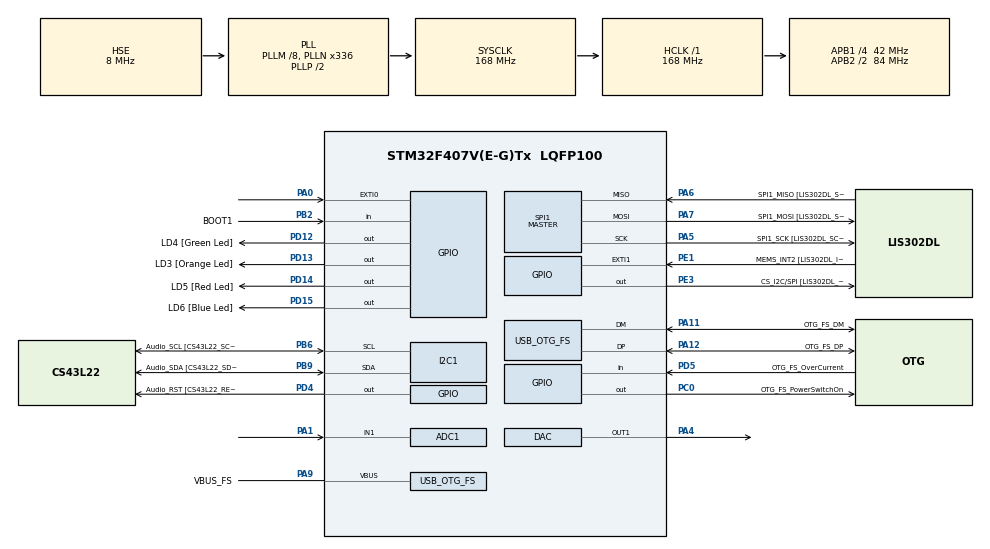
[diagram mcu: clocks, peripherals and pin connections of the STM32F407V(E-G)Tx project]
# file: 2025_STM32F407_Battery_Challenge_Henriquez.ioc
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ADC1.Channel-0\#ChannelRegularConversion=ADC_CHANNEL_1
ADC1.ContinuousConvMode=ENABLE
ADC1.NbrOfConversionFlag=1
ADC1.Rank-0\#ChannelRegularConversion=1
ADC1.SamplingTime-0\#ChannelRegularConversion=ADC_SAMPLETIME_480CYCLES
ADC1.master=1
DAC.DAC_Trigger=DAC_TRIGGER_T2_TRGO
Dma.DAC1.0.Direction=DMA_MEMORY_TO_PERIPH
Dma.DAC1.0.FIFOMode=DMA_FIFOMODE_DISABLE
Dma.DAC1.0.Instance=DMA1_Stream5
Dma.DAC1.0.MemDataAlignment=DMA_MDATAALIGN_WORD
Dma.DAC1.0.MemInc=DMA_MINC_ENABLE
Dma.DAC1.0.Mode=DMA_CIRCULAR
Dma.DAC1.0.PeriphDataAlignment=DMA_PDATAALIGN_WORD
Dma.DAC1.0.PeriphInc=DMA_PINC_DISABLE
Dma.DAC1.0.Priority=DMA_PRIORITY_LOW
Dma.Request0=DAC1
Mcu.Family=STM32F4
Mcu.Name=STM32F407V(E-G)Tx
Mcu.Package=LQFP100
NVIC.ADC_IRQn=true\:0\:0\:false\:false\:true\:true\:true\:true
NVIC.DMA1_Stream5_IRQn=true\:0\:0\:false\:false\:true\:false\:true\:true
NVIC.EXTI0_IRQn=true\:0\:0\:false\:false\:true\:true\:true\:true
NVIC.OTG_FS_IRQn=true\:0\:0\:false\:false\:true\:true\:true\:true
NVIC.PriorityGroup=NVIC_PRIORITYGROUP_0
NVIC.TIM2_IRQn=true\:0\:0\:false\:false\:true\:true\:true\:true
PA0-WKUP.GPIO_PuPd=GPIO_PULLDOWN
PA0-WKUP.Signal=GPXTI0
PA1.Signal=ADCx_IN1
PA10.GPIO_Label=OTG_FS_ID
PA10.GPIO_Mode=GPIO_MODE_AF_PP
PA10.GPIO_PuPd=GPIO_NOPULL
PA10.GPIO_Speed=GPIO_SPEED_FREQ_LOW
PA10.Signal=USB_OTG_FS_ID
PA11.GPIO_Label=OTG_FS_DM
PA11.GPIO_Mode=GPIO_MODE_AF_PP
PA11.GPIO_PuPd=GPIO_NOPULL
PA11.GPIO_Speed=GPIO_SPEED_FREQ_LOW
PA11.Mode=Host_Only
PA11.Signal=USB_OTG_FS_DM
PA12.GPIO_Label=OTG_FS_DP
PA12.GPIO_Mode=GPIO_MODE_AF_PP
PA12.GPIO_PuPd=GPIO_NOPULL
PA12.GPIO_Speed=GPIO_SPEED_FREQ_LOW
PA12.Mode=Host_Only
PA12.Signal=USB_OTG_FS_DP
PA13.GPIO_Label=SWDIO
PA13.Mode=Serial_Wire
PA13.Signal=SYS_JTMS-SWDIO
PA14.GPIO_Label=SWCLK
PA14.Mode=Serial_Wire
PA14.Signal=SYS_JTCK-SWCLK
PA4.Signal=COMP_DAC1_group
PA5.GPIO_Label=SPI1_SCK [LIS302DL_SCL/SPC]
PA5.GPIO_Mode=GPIO_MODE_AF_PP
PA5.GPIO_PuPd=GPIO_NOPULL
PA5.GPIO_Speed=GPIO_SPEED_FREQ_LOW
PA5.Mode=Full_Duplex_Master
PA5.Signal=SPI1_SCK
PA6.GPIO_Label=SPI1_MISO [LIS302DL_SDO]
PA6.GPIO_Mode=GPIO_MODE_AF_PP
PA6.GPIO_PuPd=GPIO_NOPULL
PA6.GPIO_Speed=GPIO_SPEED_FREQ_LOW
PA6.Mode=Full_Duplex_Master
PA6.Signal=SPI1_MISO
PA7.GPIO_Label=SPI1_MOSI [LIS302DL_SDA/SDI/SDO]
PA7.GPIO_Mode=GPIO_MODE_AF_PP
PA7.GPIO_PuPd=GPIO_NOPULL
PA7.GPIO_Speed=GPIO_SPEED_FREQ_LOW
PA7.Mode=Full_Duplex_Master
PA7.Signal=SPI1_MOSI
PA9.GPIO_Label=VBUS_FS
PA9.GPIO_Mode=GPIO_MODE_INPUT
PA9.GPIO_PuPd=GPIO_NOPULL
PA9.Mode=Activate_VBUS
PA9.Signal=USB_OTG_FS_VBUS
PB10.GPIO_Label=CLK_IN [MP45DT02_CLK]
PB10.GPIO_Mode=GPIO_MODE_AF_PP
PB10.GPIO_PuPd=GPIO_NOPULL
PB10.GPIO_Speed=GPIO_SPEED_FREQ_LOW
PB10.Signal=I2S2_CK
PB2.GPIO_Label=BOOT1
PB2.GPIO_Mode=GPIO_MODE_INPUT
PB2.GPIO_PuPd=GPIO_NOPULL
PB2.Signal=GPIO_Input
PB3.GPIO_Label=SWO
PB3.Signal=SYS_JTDO-SWO
PB6.GPIO_Label=Audio_SCL [CS43L22_SCL]
PB6.GPIO_Mode=GPIO_MODE_AF_OD
PB6.GPIO_Pu=GPIO_PULLUP
PB6.GPIO_PuPd=GPIO_NOPULL
PB6.GPIO_Speed=GPIO_SPEED_FREQ_LOW
PB6.Mode=I2C
PB6.Signal=I2C1_SCL
PB9.GPIO_Label=Audio_SDA [CS43L22_SDA]
PB9.GPIO_Mode=GPIO_MODE_AF_OD
PB9.GPIO_Pu=GPIO_PULLUP
PB9.GPIO_PuPd=GPIO_NOPULL
PB9.GPIO_Speed=GPIO_SPEED_FREQ_LOW
PB9.Mode=I2C
PB9.Signal=I2C1_SDA
PC0.GPIO_Label=OTG_FS_PowerSwitchOn
PC0.GPIO_PuPd=GPIO_NOPULL
PC0.GPIO_Speed=GPIO_SPEED_FREQ_LOW
PC0.PinState=GPIO_PIN_SET
PC0.Signal=GPIO_Output
PC10.GPIO_Label=I2S3_SCK [CS43L22_SCLK]
PC10.GPIO_Mode=GPIO_MODE_AF_PP
PC10.GPIO_PuPd=GPIO_NOPULL
PC10.GPIO_Speed=GPIO_SPEED_FREQ_LOW
PC10.Signal=I2S3_CK
PC12.GPIO_Label=I2S3_SD [CS43L22_SDIN]
PC12.GPIO_Mode=GPIO_MODE_AF_PP
PC12.GPIO_PuPd=GPIO_NOPULL
PC12.GPIO_Speed=GPIO_SPEED_FREQ_LOW
PC12.Signal=I2S3_SD
PC14-OSC32_IN.GPIO_Label=PC14-OSC32_IN
PC14-OSC32_IN.Mode=LSE-External-Oscillator
PC14-OSC32_IN.Signal=RCC_OSC32_IN
PC15-OSC32_OUT.GPIO_Label=PC15-OSC32_OUT
PC15-OSC32_OUT.Mode=LSE-External-Oscillator
PC15-OSC32_OUT.Signal=RCC_OSC32_OUT
PC3.GPIO_Label=PDM_OUT [MP45DT02_DOUT]
PC3.GPIO_Mode=GPIO_MODE_AF_PP
PC3.GPIO_PuPd=GPIO_NOPULL
PC3.GPIO_Speed=GPIO_SPEED_FREQ_LOW
PC3.Signal=I2S2_SD
PC7.GPIO_Label=I2S3_MCK [CS43L22_MCLK]
PC7.GPIO_Mode=GPIO_MODE_AF_PP
PC7.GPIO_PuPd=GPIO_NOPULL
PC7.GPIO_Speed=GPIO_SPEED_FREQ_LOW
PC7.Signal=I2S3_MCK
PD12.GPIO_Label=LD4 [Green Led]
PD12.GPIO_PuPd=GPIO_NOPULL
PD12.GPIO_Speed=GPIO_SPEED_FREQ_LOW
PD12.Signal=GPIO_Output
PD13.GPIO_Label=LD3 [Orange Led]
PD13.GPIO_PuPd=GPIO_NOPULL
PD13.GPIO_Speed=GPIO_SPEED_FREQ_LOW
PD13.Signal=GPIO_Output
PD14.GPIO_Label=LD5 [Red Led]
PD14.GPIO_PuPd=GPIO_NOPULL
PD14.GPIO_Speed=GPIO_SPEED_FREQ_LOW
PD14.Signal=GPIO_Output
PD15.GPIO_Label=LD6 [Blue Led]
PD15.GPIO_PuPd=GPIO_NOPULL
PD15.GPIO_Speed=GPIO_SPEED_FREQ_LOW
PD15.Signal=GPIO_Output
PD4.GPIO_Label=Audio_RST [CS43L22_RESET]
PD4.GPIO_PuPd=GPIO_NOPULL
PD4.GPIO_Speed=GPIO_SPEED_FREQ_LOW
PD4.Signal=GPIO_Output
PD5.GPIO_Label=OTG_FS_OverCurrent
PD5.GPIO_Mode=GPIO_MODE_INPUT
PD5.GPIO_PuPd=GPIO_NOPULL
PD5.Signal=GPIO_Input
PE1.GPIO_Label=MEMS_INT2 [LIS302DL_INT2]
PE1.GPIO_ModeDefaultEXTI=GPIO_MODE_EVT_RISING
PE1.GPIO_PuPd=GPIO_NOPULL
PE1.Signal=GPXTI1
PE3.GPIO_Label=CS_I2C/SPI [LIS302DL_CS_I2C/SPI]
PE3.GPIO_PuPd=GPIO_NOPULL
PE3.GPIO_Speed=GPIO_SPEED_FREQ_LOW
PE3.Signal=GPIO_Output
PH0-OSC_IN.GPIO_Label=PH0-OSC_IN
PH0-OSC_IN.Mode=HSE-External-Oscillator
PH0-OSC_IN.Signal=RCC_OSC_IN
PH1-OSC_OUT.GPIO_Label=PH1-OSC_OUT
PH1-OSC_OUT.Mode=HSE-External-Oscillator
PH1-OSC_OUT.Signal=RCC_OSC_OUT
ProjectManager.HeapSize=0x200
ProjectManager.StackSize=0x400
ProjectManager.TargetToolchain=STM32CubeIDE
RCC.48MHZClocksFreq_Value=48000000
RCC.AHBFreq_Value=168000000
RCC.APB1CLKDivider=RCC_HCLK_DIV4
RCC.APB1Freq_Value=42000000
RCC.APB1TimFreq_Value=84000000
RCC.APB2CLKDivider=RCC_HCLK_DIV2
RCC.APB2Freq_Value=84000000
RCC.APB2TimFreq_Value=168000000
RCC.CortexFreq_Value=168000000
RCC.HCLKFreq_Value=168000000
RCC.HSE_VALUE=8000000
RCC.HSI_VALUE=16000000
RCC.PLLM=8
RCC.PLLN=336
RCC.PLLQ=7
RCC.SYSCLKFreq_VALUE=168000000
RCC.SYSCLKSource=RCC_SYSCLKSOURCE_PLLCLK
RCC.VCOOutputFreq_Value=336000000
SH.ADCx_IN1.0=ADC1_IN1,IN1
SH.COMP_DAC1_group.0=DAC_OUT1,DAC_OUT1
SPI1.BaudRatePrescaler-Full_Duplex_Master=SPI_BAUDRATEPRESCALER_2
SPI1.CalculateBaudRate-Full_Duplex_Master=42.0 MBits/s
SPI1.Direction=SPI_DIRECTION_2LINES
SPI1.Mode=SPI_MODE_MASTER
SPI1.Mode-Full_Duplex_Master=SPI_MODE_MASTER
SPI1.VirtualType=VM_MASTER
TIM2.Period=100-1
TIM2.Prescaler=84-1
TIM2.TIM_MasterOutputTrigger=TIM_TRGO_UPDATE
USB_HOST.BSP.number=1
USB_HOST.USBH_HandleTypeDef-CDC_FS=hUsbHostFS
USB_HOST.VirtualModeFS=Cdc
USB_HOST0.BSP.STBoard=false
USB_HOST0.BSP.api=Unknown
USB_HOST0.BSP.instance=PC0
USB_HOST0.BSP.ip=GPIO
USB_HOST0.BSP.mode=Output
USB_HOST0.BSP.name=Drive_VBUS_FS
USB_HOST0.BSP.solution=PC0
USB_OTG_FS.VirtualMode=Host_Only
USB_OTG_FS.phy_itface=HCD_PHY_EMBEDDED
VP_TIM2_VS_ClockSourceINT.Mode=Internal
VP_USB_HOST_VS_USB_HOST_CDC_FS.Mode=CDC_FS
board=STM32F407G-DISC1

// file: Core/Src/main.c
/* USER CODE BEGIN Header */
/**
  ******************************************************************************
  * @file           : main.c
  * @brief          : Main program body
  ******************************************************************************
  * @attention
  *
  * Copyright (c) 2025 STMicroelectronics.
  * All rights reserved.
  *
  * This software is licensed under terms that can be found in the LICENSE file
  * in the root directory of this software component.
  * If no LICENSE file comes with this software, it is provided AS-IS.
  *
  ******************************************************************************
  */
/* USER CODE END Header */
#include "main.h"
#include "usb_host.h"

/* USER CODE BEGIN Includes */
#include "math.h"

/* USER CODE END Includes */

ADC_HandleTypeDef hadc1;

DAC_HandleTypeDef hdac;
DMA_HandleTypeDef hdma_dac1;

I2C_HandleTypeDef hi2c1;

SPI_HandleTypeDef hspi1;

TIM_HandleTypeDef htim2;

/* USER CODE BEGIN PV */

#define V_REF 3
#define PI 3.14159265
#define NUM_POINTS 100
uint32_t gSine_Values[NUM_POINTS];
uint32_t gSine_Values2[NUM_POINTS];
uint32_t *current_sine_wave;
uint16_t gADC_Value = 0;
uint16_t gADC_Percent = 0;

int caseNumber = 0;
int buttonCounter = 0;
int lastButton = 0;

/* USER CODE END PV */

void SystemClock_Config(void);
static void MX_GPIO_Init(void);
static void MX_DMA_Init(void);
static void MX_I2C1_Init(void);
static void MX_SPI1_Init(void);
static void MX_ADC1_Init(void);
static void MX_DAC_Init(void);
static void MX_TIM2_Init(void);
void MX_USB_HOST_Process(void);

/* USER CODE BEGIN PFP */
int CASE_NUMBER(uint16_t gadc_percent);
void select_sine_wave(int countStatus);
void change_sine_wave(int countStatus);

/* USER CODE END PFP */

/* USER CODE BEGIN 0 */
long map(long x, long in_min, long in_max, long out_min, long out_max){
	return (x-in_min)*(out_max-out_min+1)/(in_max-in_min+1) + out_min;
}

void get_SineVal(){
	for(int i=0; i < NUM_POINTS; i++){
		gSine_Values[i] = (sin(i*2*PI/NUM_POINTS)+1)*(4096/V_REF);
		gSine_Values2[i] = (sin(i*2*PI*1.2/NUM_POINTS)+1)*(4096/V_REF);
	}
}

/* USER CODE END 0 */

int main(void)
{

  /* MCU Configuration--------------------------------------------------------*/

  /* Reset of all peripherals, Initializes the Flash interface and the Systick. */
  HAL_Init();

  /* Configure the system clock */
  SystemClock_Config();

  /* Initialize all configured peripherals */
  MX_GPIO_Init();
  MX_DMA_Init();
  MX_I2C1_Init();
  MX_SPI1_Init();
  MX_USB_HOST_Init();
  MX_ADC1_Init();
  MX_DAC_Init();
  MX_TIM2_Init();
  /* USER CODE BEGIN 2 */

  HAL_ADC_Start_IT(&hadc1);

  HAL_TIM_Base_Start(&htim2);

  get_SineVal();

  /* USER CODE END 2 */

  /* Infinite loop */
  /* USER CODE BEGIN WHILE */
  while (1)
  {

	  if (lastButton != buttonCounter){ // Whenever lastButton is not buttonCounter, run the change_sine_wave function
		  change_sine_wave(buttonCounter);

	  }
	  caseNumber = CASE_NUMBER(gADC_Percent); //Check power
	  if (caseNumber == 0){
		  buttonCounter = 0;
		  change_sine_wave(buttonCounter);
	  }
    /* USER CODE END WHILE */
    MX_USB_HOST_Process();

  }
}

void SystemClock_Config(void)
{
  RCC_OscInitTypeDef RCC_OscInitStruct = {0};
  RCC_ClkInitTypeDef RCC_ClkInitStruct = {0};

  /** Configure the main internal regulator output voltage
  */
  __HAL_RCC_PWR_CLK_ENABLE();
  __HAL_PWR_VOLTAGESCALING_CONFIG(PWR_REGULATOR_VOLTAGE_SCALE1);

  /** Initializes the RCC Oscillators according to the specified parameters
  * in the RCC_OscInitTypeDef structure.
  */
  RCC_OscInitStruct.OscillatorType = RCC_OSCILLATORTYPE_HSE;
  RCC_OscInitStruct.HSEState = RCC_HSE_ON;
  RCC_OscInitStruct.PLL.PLLState = RCC_PLL_ON;
  RCC_OscInitStruct.PLL.PLLSource = RCC_PLLSOURCE_HSE;
  RCC_OscInitStruct.PLL.PLLM = 8;
  RCC_OscInitStruct.PLL.PLLN = 336;
  RCC_OscInitStruct.PLL.PLLP = RCC_PLLP_DIV2;
  RCC_OscInitStruct.PLL.PLLQ = 7;
  if (HAL_RCC_OscConfig(&RCC_OscInitStruct) != HAL_OK)
  {
    Error_Handler();
  }

  /** Initializes the CPU, AHB and APB buses clocks
  */
  RCC_ClkInitStruct.ClockType = RCC_CLOCKTYPE_HCLK|RCC_CLOCKTYPE_SYSCLK
                              |RCC_CLOCKTYPE_PCLK1|RCC_CLOCKTYPE_PCLK2;
  RCC_ClkInitStruct.SYSCLKSource = RCC_SYSCLKSOURCE_PLLCLK;
  RCC_ClkInitStruct.AHBCLKDivider = RCC_SYSCLK_DIV1;
  RCC_ClkInitStruct.APB1CLKDivider = RCC_HCLK_DIV4;
  RCC_ClkInitStruct.APB2CLKDivider = RCC_HCLK_DIV2;

  if (HAL_RCC_ClockConfig(&RCC_ClkInitStruct, FLASH_LATENCY_5) != HAL_OK)
  {
    Error_Handler();
  }
}

static void MX_ADC1_Init(void)
{

  ADC_ChannelConfTypeDef sConfig = {0};

  /** Configure the global features of the ADC (Clock, Resolution, Data Alignment and number of conversion)
  */
  hadc1.Instance = ADC1;
  hadc1.Init.ClockPrescaler = ADC_CLOCK_SYNC_PCLK_DIV4;
  hadc1.Init.Resolution = ADC_RESOLUTION_12B;
  hadc1.Init.ScanConvMode = DISABLE;
  hadc1.Init.ContinuousConvMode = ENABLE;
  hadc1.Init.DiscontinuousConvMode = DISABLE;
  hadc1.Init.ExternalTrigConvEdge = ADC_EXTERNALTRIGCONVEDGE_NONE;
  hadc1.Init.ExternalTrigConv = ADC_SOFTWARE_START;
  hadc1.Init.DataAlign = ADC_DATAALIGN_RIGHT;
  hadc1.Init.NbrOfConversion = 1;
  hadc1.Init.DMAContinuousRequests = DISABLE;
  hadc1.Init.EOCSelection = ADC_EOC_SINGLE_CONV;
  if (HAL_ADC_Init(&hadc1) != HAL_OK)
  {
    Error_Handler();
  }

  /** Configure for the selected ADC regular channel its corresponding rank in the sequencer and its sample time.
  */
  sConfig.Channel = ADC_CHANNEL_1;
  sConfig.Rank = 1;
  sConfig.SamplingTime = ADC_SAMPLETIME_480CYCLES;
  if (HAL_ADC_ConfigChannel(&hadc1, &sConfig) != HAL_OK)
  {
    Error_Handler();
  }

}

static void MX_DAC_Init(void)
{

  DAC_ChannelConfTypeDef sConfig = {0};

  /** DAC Initialization
  */
  hdac.Instance = DAC;
  if (HAL_DAC_Init(&hdac) != HAL_OK)
  {
    Error_Handler();
  }

  /** DAC channel OUT1 config
  */
  sConfig.DAC_Trigger = DAC_TRIGGER_T2_TRGO;
  sConfig.DAC_OutputBuffer = DAC_OUTPUTBUFFER_ENABLE;
  if (HAL_DAC_ConfigChannel(&hdac, &sConfig, DAC_CHANNEL_1) != HAL_OK)
  {
    Error_Handler();
  }

}

static void MX_I2C1_Init(void)
{

  hi2c1.Instance = I2C1;
  hi2c1.Init.ClockSpeed = 100000;
  hi2c1.Init.DutyCycle = I2C_DUTYCYCLE_2;
  hi2c1.Init.OwnAddress1 = 0;
  hi2c1.Init.AddressingMode = I2C_ADDRESSINGMODE_7BIT;
  hi2c1.Init.DualAddressMode = I2C_DUALADDRESS_DISABLE;
  hi2c1.Init.OwnAddress2 = 0;
  hi2c1.Init.GeneralCallMode = I2C_GENERALCALL_DISABLE;
  hi2c1.Init.NoStretchMode = I2C_NOSTRETCH_DISABLE;
  if (HAL_I2C_Init(&hi2c1) != HAL_OK)
  {
    Error_Handler();
  }

}

static void MX_SPI1_Init(void)
{

  /* SPI1 parameter configuration*/
  hspi1.Instance = SPI1;
  hspi1.Init.Mode = SPI_MODE_MASTER;
  hspi1.Init.Direction = SPI_DIRECTION_2LINES;
  hspi1.Init.DataSize = SPI_DATASIZE_8BIT;
  hspi1.Init.CLKPolarity = SPI_POLARITY_LOW;
  hspi1.Init.CLKPhase = SPI_PHASE_1EDGE;
  hspi1.Init.NSS = SPI_NSS_SOFT;
  hspi1.Init.BaudRatePrescaler = SPI_BAUDRATEPRESCALER_2;
  hspi1.Init.FirstBit = SPI_FIRSTBIT_MSB;
  hspi1.Init.TIMode = SPI_TIMODE_DISABLE;
  hspi1.Init.CRCCalculation = SPI_CRCCALCULATION_DISABLE;
  hspi1.Init.CRCPolynomial = 10;
  if (HAL_SPI_Init(&hspi1) != HAL_OK)
  {
    Error_Handler();
  }

}

static void MX_TIM2_Init(void)
{

  TIM_ClockConfigTypeDef sClockSourceConfig = {0};
  TIM_MasterConfigTypeDef sMasterConfig = {0};

  htim2.Instance = TIM2;
  htim2.Init.Prescaler = 84-1;
  htim2.Init.CounterMode = TIM_COUNTERMODE_UP;
  htim2.Init.Period = 100-1;
  htim2.Init.ClockDivision = TIM_CLOCKDIVISION_DIV1;
  htim2.Init.AutoReloadPreload = TIM_AUTORELOAD_PRELOAD_DISABLE;
  if (HAL_TIM_Base_Init(&htim2) != HAL_OK)
  {
    Error_Handler();
  }
  sClockSourceConfig.ClockSource = TIM_CLOCKSOURCE_INTERNAL;
  if (HAL_TIM_ConfigClockSource(&htim2, &sClockSourceConfig) != HAL_OK)
  {
    Error_Handler();
  }
  sMasterConfig.MasterOutputTrigger = TIM_TRGO_UPDATE;
  sMasterConfig.MasterSlaveMode = TIM_MASTERSLAVEMODE_DISABLE;
  if (HAL_TIMEx_MasterConfigSynchronization(&htim2, &sMasterConfig) != HAL_OK)
  {
    Error_Handler();
  }

}

static void MX_DMA_Init(void)
{

  /* DMA controller clock enable */
  __HAL_RCC_DMA1_CLK_ENABLE();

  /* DMA interrupt init */
  /* DMA1_Stream5_IRQn interrupt configuration */
  HAL_NVIC_SetPriority(DMA1_Stream5_IRQn, 0, 0);
  HAL_NVIC_EnableIRQ(DMA1_Stream5_IRQn);

}

static void MX_GPIO_Init(void)
{
  GPIO_InitTypeDef GPIO_InitStruct = {0};

  /* GPIO Ports Clock Enable */
  __HAL_RCC_GPIOE_CLK_ENABLE();
  __HAL_RCC_GPIOC_CLK_ENABLE();
  __HAL_RCC_GPIOH_CLK_ENABLE();
  __HAL_RCC_GPIOA_CLK_ENABLE();
  __HAL_RCC_GPIOB_CLK_ENABLE();
  __HAL_RCC_GPIOD_CLK_ENABLE();

  /*Configure GPIO pin Output Level */
  HAL_GPIO_WritePin(CS_I2C_SPI_GPIO_Port, CS_I2C_SPI_Pin, GPIO_PIN_RESET);

  /*Configure GPIO pin Output Level */
  HAL_GPIO_WritePin(OTG_FS_PowerSwitchOn_GPIO_Port, OTG_FS_PowerSwitchOn_Pin, GPIO_PIN_SET);

  /*Configure GPIO pin Output Level */
  HAL_GPIO_WritePin(GPIOD, LD4_Pin|LD3_Pin|LD5_Pin|LD6_Pin
                          |Audio_RST_Pin, GPIO_PIN_RESET);

  /*Configure GPIO pin : CS_I2C_SPI_Pin */
  GPIO_InitStruct.Pin = CS_I2C_SPI_Pin;
  GPIO_InitStruct.Mode = GPIO_MODE_OUTPUT_PP;
  GPIO_InitStruct.Pull = GPIO_NOPULL;
  GPIO_InitStruct.Speed = GPIO_SPEED_FREQ_LOW;
  HAL_GPIO_Init(CS_I2C_SPI_GPIO_Port, &GPIO_InitStruct);

  /*Configure GPIO pin : OTG_FS_PowerSwitchOn_Pin */
  GPIO_InitStruct.Pin = OTG_FS_PowerSwitchOn_Pin;
  GPIO_InitStruct.Mode = GPIO_MODE_OUTPUT_PP;
  GPIO_InitStruct.Pull = GPIO_NOPULL;
  GPIO_InitStruct.Speed = GPIO_SPEED_FREQ_LOW;
  HAL_GPIO_Init(OTG_FS_PowerSwitchOn_GPIO_Port, &GPIO_InitStruct);

  /*Configure GPIO pin : PDM_OUT_Pin */
  GPIO_InitStruct.Pin = PDM_OUT_Pin;
  GPIO_InitStruct.Mode = GPIO_MODE_AF_PP;
  GPIO_InitStruct.Pull = GPIO_NOPULL;
  GPIO_InitStruct.Speed = GPIO_SPEED_FREQ_LOW;
  GPIO_InitStruct.Alternate = GPIO_AF5_SPI2;
  HAL_GPIO_Init(PDM_OUT_GPIO_Port, &GPIO_InitStruct);

  /*Configure GPIO pin : PA0 */
  GPIO_InitStruct.Pin = GPIO_PIN_0;
  GPIO_InitStruct.Mode = GPIO_MODE_IT_RISING;
  GPIO_InitStruct.Pull = GPIO_PULLDOWN;
  HAL_GPIO_Init(GPIOA, &GPIO_InitStruct);

  /*Configure GPIO pin : BOOT1_Pin */
  GPIO_InitStruct.Pin = BOOT1_Pin;
  GPIO_InitStruct.Mode = GPIO_MODE_INPUT;
  GPIO_InitStruct.Pull = GPIO_NOPULL;
  HAL_GPIO_Init(BOOT1_GPIO_Port, &GPIO_InitStruct);

  /*Configure GPIO pin : CLK_IN_Pin */
  GPIO_InitStruct.Pin = CLK_IN_Pin;
  GPIO_InitStruct.Mode = GPIO_MODE_AF_PP;
  GPIO_InitStruct.Pull = GPIO_NOPULL;
  GPIO_InitStruct.Speed = GPIO_SPEED_FREQ_LOW;
  GPIO_InitStruct.Alternate = GPIO_AF5_SPI2;
  HAL_GPIO_Init(CLK_IN_GPIO_Port, &GPIO_InitStruct);

  /*Configure GPIO pins : LD4_Pin LD3_Pin LD5_Pin LD6_Pin
                           Audio_RST_Pin */
  GPIO_InitStruct.Pin = LD4_Pin|LD3_Pin|LD5_Pin|LD6_Pin
                          |Audio_RST_Pin;
  GPIO_InitStruct.Mode = GPIO_MODE_OUTPUT_PP;
  GPIO_InitStruct.Pull = GPIO_NOPULL;
  GPIO_InitStruct.Speed = GPIO_SPEED_FREQ_LOW;
  HAL_GPIO_Init(GPIOD, &GPIO_InitStruct);

  /*Configure GPIO pins : I2S3_MCK_Pin I2S3_SCK_Pin I2S3_SD_Pin */
  GPIO_InitStruct.Pin = I2S3_MCK_Pin|I2S3_SCK_Pin|I2S3_SD_Pin;
  GPIO_InitStruct.Mode = GPIO_MODE_AF_PP;
  GPIO_InitStruct.Pull = GPIO_NOPULL;
  GPIO_InitStruct.Speed = GPIO_SPEED_FREQ_LOW;
  GPIO_InitStruct.Alternate = GPIO_AF6_SPI3;
  HAL_GPIO_Init(GPIOC, &GPIO_InitStruct);

  /*Configure GPIO pin : OTG_FS_OverCurrent_Pin */
  GPIO_InitStruct.Pin = OTG_FS_OverCurrent_Pin;
  GPIO_InitStruct.Mode = GPIO_MODE_INPUT;
  GPIO_InitStruct.Pull = GPIO_NOPULL;
  HAL_GPIO_Init(OTG_FS_OverCurrent_GPIO_Port, &GPIO_InitStruct);

  /*Configure GPIO pin : MEMS_INT2_Pin */
  GPIO_InitStruct.Pin = MEMS_INT2_Pin;
  GPIO_InitStruct.Mode = GPIO_MODE_EVT_RISING;
  GPIO_InitStruct.Pull = GPIO_NOPULL;
  HAL_GPIO_Init(MEMS_INT2_GPIO_Port, &GPIO_InitStruct);

  /* EXTI interrupt init*/
  HAL_NVIC_SetPriority(EXTI0_IRQn, 0, 0);
  HAL_NVIC_EnableIRQ(EXTI0_IRQn);

}

/* USER CODE BEGIN 4 */

/**
  * @brief HAL ADC Callback function
  * @param hadc
  * @retval None
  */

void HAL_ADC_ConvCpltCallback(ADC_HandleTypeDef *hadc){
	gADC_Value = HAL_ADC_GetValue(hadc); // Get the value from ADC
	gADC_Percent = map(gADC_Value, 0, 4096, 0, 100); // Map the value to a percentage
}

/**
  * @brief HAL GPIO Callback Function
  * @param gpio pin
  * @retval None
  */

void HAL_GPIO_EXTI_Callback(uint16_t GPIO_Pin){
	if (GPIO_Pin == GPIO_PIN_0){
		lastButton = buttonCounter; //store the previous result of button counter
		buttonCounter++; // INcrement button counter
		buttonCounter = buttonCounter % 3; // Take button counter mod 3, since only 3 cases allowed
	}

}

/**
  * @brief Selects the array of sine values used in hal dac waveform generator
  * @param countStatus, buttonCounter variable
  * @retval None
  */

void select_sine_wave(int countStatus) {
    if (countStatus == 1) {
        current_sine_wave = gSine_Values; // if buttonCounter is 1, then one waveform is selected
    } else if (countStatus == 2) {
        current_sine_wave = gSine_Values2; // if buttonCounter is 2, then the other waveform is selected
    }
    lastButton = buttonCounter; // restore equality between lastButton, and buttonCounter.

}

/**
  * @brief SAfter array is selected, change the array responsible for generating the waveform
  * @param countStatus, the status of buttonCounter
  * @retval None
  */

void change_sine_wave(int countStatus) {
    // Stop Current DMA
    HAL_DAC_Stop_DMA(&hdac, DAC_CHANNEL_1); //Stop DMA

    // Change the Sine Wave Array
    if (countStatus != 0) { //Only if buttonCounter is not 0, start the waveform generation process with selected sine wave.
    	select_sine_wave(countStatus);
    	HAL_DAC_Start_DMA(&hdac, DAC_CHANNEL_1, current_sine_wave, NUM_POINTS, DAC_ALIGN_12B_R);
    }

}
/**
  * @brief Determines if motors are on or not depending on power reading
  * @param gadc_percent, the percent. The voltage divider outputs voltages from 0 to roughly 16 volts. 6.5 volts is 40%
  * @retval None
  */

int CASE_NUMBER(uint16_t gadc_percent){
	if (gadc_percent<40){
		return 0;
	} else{
		return 1;
	}
}

/* USER CODE END 4 */

void Error_Handler(void)
{
  __disable_irq();
  while (1)
  {
  }
}
